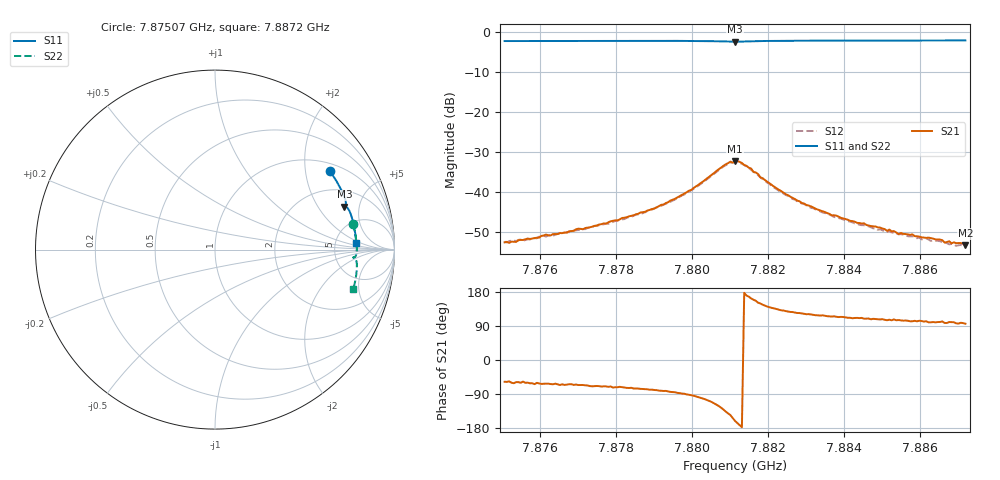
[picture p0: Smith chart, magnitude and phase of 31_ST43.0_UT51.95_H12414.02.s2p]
#  HZ  S  DB  R  50.00
! Rohde & Schwarz Vector Network Analyzer
! Rohde-Schwarz,ZNB20-2Port,1311601062101988,3.16
! Created: UTC 1/12/2023, 6:31:24 PM
! freq[Hz]  db:S11  ang:S11  db:S21  ang:S21  db:S12  ang:S12  db:S22  ang:S22
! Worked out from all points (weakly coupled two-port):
!   201 points, 7.87507 GHz to 7.8872 GHz, reference 50 ohm
!   highest |S21| = -32.27 dB at 7.88114 GHz (marker M1); lowest = -53.3 dB at 7.8872 GHz (marker M2)
!   lowest |S11| = -2.4 dB at 7.88114 GHz (marker M3), VSWR 7.33, Z = 157 + j177 ohm
!   |S11| at or under -10 dB: nowhere
!   |S22| runs from -2.3 to -1.9 dB; largest |S21 - S12| = 0.0023
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7.875073e9  -2.22 34.4  -52.61 -57.5  -52.43 -61.2  -2.13 10.4
7.87574e9  -2.21 32.5  -51.77 -61.4  -51.91 -64.8  -2.12 8.8
7.876165e9  -2.20 31.4  -50.65 -62.4  -51.19 -65.4  -2.10 7.8
7.877135e9  -2.19 28.7  -49.34 -66.0  -49.30 -70.3  -2.08 5.5
7.877803e9  -2.18 26.9  -47.60 -70.8  -47.98 -73.6  -2.07 4.0
7.879137e9  -2.18 23.2  -43.55 -80.8  -43.73 -84.2  -2.05 0.9
7.879986e9  -2.19 20.7  -39.50 -93.0  -39.61 -96.5  -2.05 -1.3
7.880835e9  -2.33 18.5  -33.45 -130.8  -33.64 -134.3  -2.19 -3.3
7.881139e9  -2.38 18.4  -32.27 -160.6  -32.54 -163.0  -2.27 -3.3
7.881442e9  -2.33 18.3  -33.46 170.0  -33.62 167.9  -2.20 -3.2
7.881806e9  -2.23 17.4  -36.35 149.2  -36.34 145.3  -2.09 -3.8
7.882473e9  -2.16 15.5  -40.55 129.1  -40.75 125.9  -2.02 -5.4
7.883201e9  -2.12 13.4  -43.88 118.9  -44.10 116.1  -1.98 -7.1
7.884353e9  -2.10 10.3  -47.73 111.1  -47.93 107.5  -1.95 -9.8
7.885142e9  -2.09 8.2  -49.74 104.9  -49.98 104.1  -1.93 -11.5
7.885202e9  -2.09 8.1  -49.42 106.3  -49.91 103.5  -1.93 -11.7
7.885445e9  -2.09 7.4  -50.56 105.4  -50.62 101.9  -1.93 -12.2
7.885809e9  -2.09 6.5  -50.62 102.2  -51.12 101.3  -1.93 -13.0
7.886537e9  -2.08 4.5  -51.91 100.3  -52.33 95.7  -1.92 -14.6
7.886658e9  -2.08 4.2  -52.67 97.7  -52.64 95.9  -1.92 -14.9
7.886779e9  -2.08 3.9  -52.35 100.3  -53.12 96.9  -1.92 -15.1
7.887204e9  -2.07 2.8  -53.32 95.8  -53.57 93.7  -1.91 -16.0
